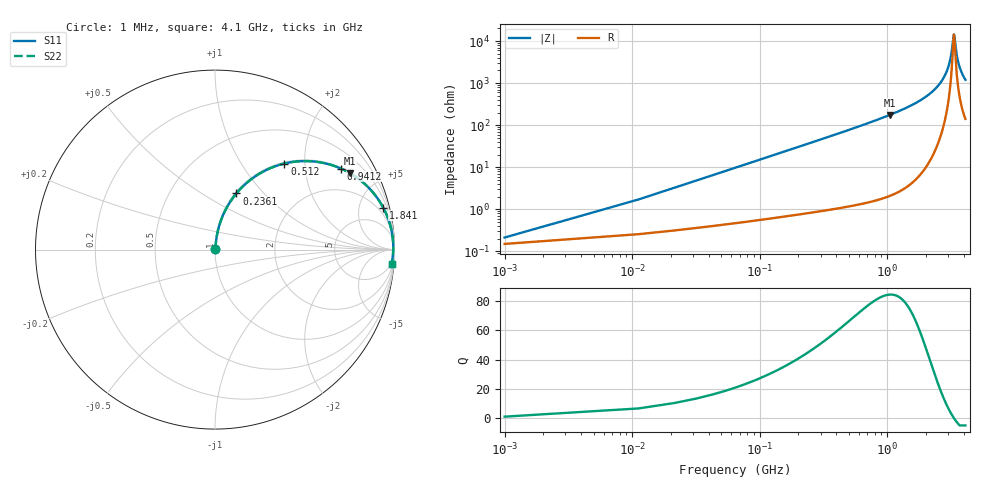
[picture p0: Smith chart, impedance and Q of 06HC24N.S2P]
! Coilcraft 0603HC-24N Chip Inductor
! 03 June 2002
# MHZ S MA R 50
!Freq  MagS11  AngS11  MagS21  AngS21  MagS12  AngS12  MagS22  AngS22
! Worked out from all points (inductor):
!   403 points, 1 MHz to 4.1 GHz, reference 50 ohm
!   read as one part in series: L = 24 nH near 21.44 MHz
!   highest Q = 84.3 at 1.043 GHz (marker M1), where L = 26.6 nH
!   self-resonance near 3.333 GHz
!   S11 on the Smith chart (normalised r, x): 1 MHz: 1.00, +0.00; 236.1 MHz: 1.02, +0.72; 512 MHz: 1.02, +1.58; 941.2 MHz: 1.04, +3.08; 1.841 GHz: 1.14, +7.98; 4.1 GHz: 4, -24
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1  0.002124 45.1  0.9985 -0.1  0.9985 -0.1  0.002124 45.1
31.66  0.04766 83.0  0.9953 -2.7  0.9953 -2.7  0.04766 83.0
62.32  0.09328 81.8  0.9911 -5.3  0.9911 -5.3  0.09328 81.8
133.86  0.1971 76.9  0.9743 -11.4  0.9743 -11.4  0.1971 76.9
236.06  0.3346 69.2  0.9349 -19.5  0.9349 -19.5  0.3346 69.2
512  0.6158 51.1  0.7787 -38.0  0.7787 -38.0  0.6158 51.1
685.74  0.729 42.5  0.675 -46.8  0.675 -46.8  0.729 42.5
941.24  0.8345 32.8  0.5411 -56.6  0.5411 -56.6  0.8345 32.8
1043.44  0.8632 29.7  0.4948 -59.7  0.4948 -59.7  0.8632 29.7
1370.48  0.9238 21.8  0.3714 -67.5  0.3714 -67.5  0.9238 21.8
1840.6  0.9661 14.0  0.242 -75.0  0.242 -75.0  0.9661 14.0
2055.22  0.9764 11.3  0.1953 -77.5  0.1953 -77.5  0.9764 11.3
2739.96  0.9916 4.5  0.07809 -81.6  0.07809 -81.6  0.9916 4.5
2934.14  0.9929 2.9  0.05095 -80.6  0.05095 -80.6  0.9929 2.9
3087.44  0.9933 1.7  0.03105 -76.7  0.03105 -76.7  0.9933 1.7
3189.64  0.9934 1.0  0.01871 -68.7  0.01871 -68.7  0.9934 1.0
3322.5  0.9931 0.1  0.007027 -11.7  0.007027 -11.7  0.9931 0.1
3363.38  0.993 -0.2  0.007784 25.7  0.007784 25.7  0.993 -0.2
3424.7  0.9927 -0.6  0.01275 55.0  0.01275 55.0  0.9927 -0.6
3526.9  0.9922 -1.3  0.02336 69.9  0.02336 69.9  0.9922 -1.3
3669.98  0.9913 -2.2  0.03864 75.9  0.03864 75.9  0.9913 -2.2
4100  0.9871 -4.7  0.08215 78.6  0.08215 78.6  0.9871 -4.7
